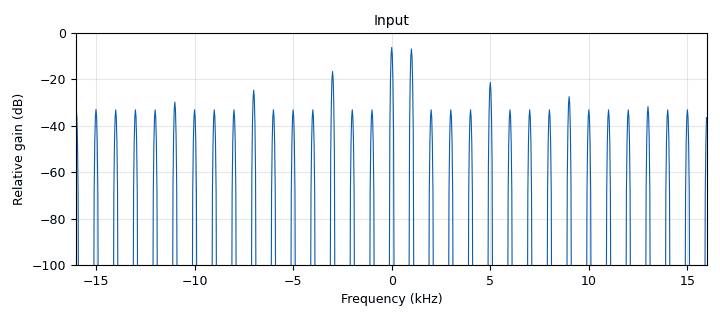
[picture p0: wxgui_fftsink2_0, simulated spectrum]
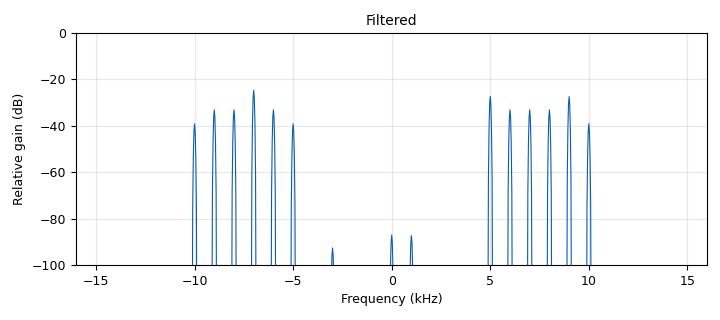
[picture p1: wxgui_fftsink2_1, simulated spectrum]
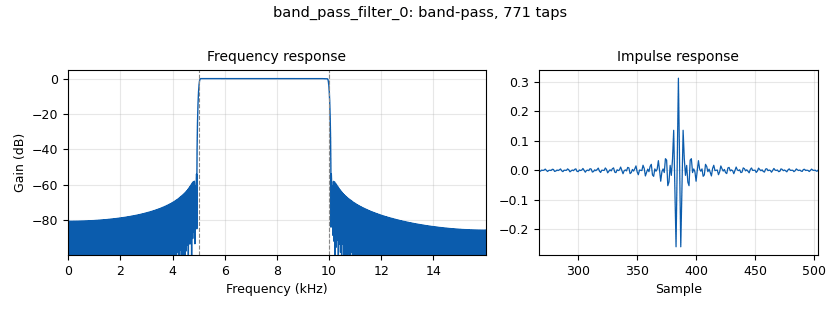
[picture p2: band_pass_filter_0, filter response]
<?xml version='1.0' encoding='utf-8'?>
<?grc format='1' created='3.7.11'?>
<flow_graph>
<block>
<key>options</key>
<param><key>id</key><value>top_block</value></param>
<param><key>generate_options</key><value>wx_gui</value></param>
</block>
<block>
<key>variable</key>
<param><key>id</key><value>high_cutoff_freq</value></param>
<param><key>value</key><value>10e3</value></param>
</block>
<block>
<key>variable</key>
<param><key>id</key><value>low_cutoff_freq</value></param>
<param><key>value</key><value>5000</value></param>
</block>
<block>
<key>variable</key>
<param><key>id</key><value>samp_rate</value></param>
<param><key>value</key><value>32000</value></param>
</block>
<block>
<key>analog_sig_source_x</key>
<param><key>id</key><value>analog_sig_source_x_0</value></param>
<param><key>amp</key><value>1</value></param>
<param><key>freq</key><value>1000</value></param>
<param><key>offset</key><value>0</value></param>
<param><key>type</key><value>complex</value></param>
<param><key>samp_rate</key><value>samp_rate</value></param>
<param><key>waveform</key><value>analog.GR_SQR_WAVE</value></param>
</block>
<block>
<key>band_pass_filter</key>
<param><key>id</key><value>band_pass_filter_0</value></param>
<param><key>decim</key><value>1</value></param>
<param><key>type</key><value>fir_filter_ccf</value></param>
<param><key>gain</key><value>1</value></param>
<param><key>high_cutoff_freq</key><value>high_cutoff_freq</value></param>
<param><key>low_cutoff_freq</key><value>low_cutoff_freq</value></param>
<param><key>samp_rate</key><value>samp_rate</value></param>
<param><key>width</key><value>100</value></param>
<param><key>win</key><value>firdes.WIN_HAMMING</value></param>
</block>
<block>
<key>blocks_throttle</key>
<param><key>id</key><value>blocks_throttle_0</value></param>
<param><key>samples_per_second</key><value>samp_rate</value></param>
<param><key>type</key><value>complex</value></param>
</block>
<block>
<key>note</key>
<param><key>id</key><value>note_0</value></param>
<param><key>comment</key><value>Filters out all postive and negative frequencies
above and below  the cutoff frequencies</value></param>
<param><key>note</key><value>Band Pass Filter</value></param>
</block>
<block>
<key>wxgui_fftsink2</key>
<param><key>id</key><value>wxgui_fftsink2_0</value></param>
<param><key>avg_alpha</key><value>0</value></param>
<param><key>average</key><value>False</value></param>
<param><key>baseband_freq</key><value>0</value></param>
<param><key>fft_size</key><value>1024</value></param>
<param><key>freqvar</key><value>None</value></param>
<param><key>peak_hold</key><value>False</value></param>
<param><key>ref_level</key><value>0</value></param>
<param><key>ref_scale</key><value>2.0</value></param>
<param><key>fft_rate</key><value>15</value></param>
<param><key>samp_rate</key><value>samp_rate</value></param>
<param><key>title</key><value>Input</value></param>
<param><key>type</key><value>complex</value></param>
<param><key>win</key><value>None</value></param>
<param><key>y_divs</key><value>10</value></param>
<param><key>y_per_div</key><value>10</value></param>
</block>
<block>
<key>wxgui_fftsink2</key>
<param><key>id</key><value>wxgui_fftsink2_1</value></param>
<param><key>avg_alpha</key><value>0</value></param>
<param><key>average</key><value>False</value></param>
<param><key>baseband_freq</key><value>0</value></param>
<param><key>fft_size</key><value>1024</value></param>
<param><key>freqvar</key><value>None</value></param>
<param><key>peak_hold</key><value>False</value></param>
<param><key>ref_level</key><value>0</value></param>
<param><key>ref_scale</key><value>2.0</value></param>
<param><key>fft_rate</key><value>15</value></param>
<param><key>samp_rate</key><value>samp_rate</value></param>
<param><key>title</key><value>Filtered</value></param>
<param><key>type</key><value>complex</value></param>
<param><key>win</key><value>None</value></param>
<param><key>y_divs</key><value>10</value></param>
<param><key>y_per_div</key><value>10</value></param>
</block>
<connection><source_block_id>analog_sig_source_x_0</source_block_id><sink_block_id>blocks_throttle_0</sink_block_id><source_key>0</source_key><sink_key>0</sink_key></connection>
<connection><source_block_id>band_pass_filter_0</source_block_id><sink_block_id>wxgui_fftsink2_1</sink_block_id><source_key>0</source_key><sink_key>0</sink_key></connection>
<connection><source_block_id>blocks_throttle_0</source_block_id><sink_block_id>band_pass_filter_0</sink_block_id><source_key>0</source_key><sink_key>0</sink_key></connection>
<connection><source_block_id>blocks_throttle_0</source_block_id><sink_block_id>wxgui_fftsink2_0</sink_block_id><source_key>0</source_key><sink_key>0</sink_key></connection>
</flow_graph>
